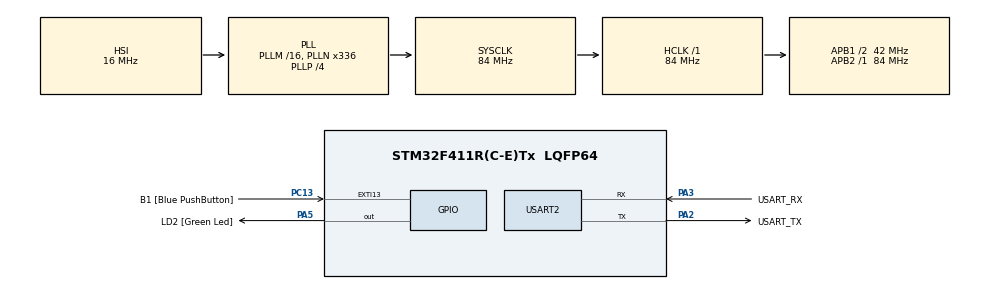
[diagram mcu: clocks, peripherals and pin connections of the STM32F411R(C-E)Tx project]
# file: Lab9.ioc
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Mcu.Family=STM32F4
PC15-OSC32_OUT.Mode=LSE-External-Oscillator
Dma.USART2_TX.1.Priority=DMA_PRIORITY_LOW
RCC.CortexFreq_Value=84000000
Dma.USART2_TX.1.FIFOMode=DMA_FIFOMODE_DISABLE
PC13-ANTI_TAMP.GPIO_Label=B1 [Blue PushButton]
Dma.USART2_TX.1.MemInc=DMA_MINC_ENABLE
PA14.GPIO_Label=TCK
PH1\ -\ OSC_OUT.Mode=HSE-External-Clock-Source
Dma.USART2_RX.0.Direction=DMA_PERIPH_TO_MEMORY
RCC.APB1CLKDivider=RCC_HCLK_DIV2
PC14-OSC32_IN.Signal=RCC_OSC32_IN
Dma.USART2_TX.1.PeriphDataAlignment=DMA_PDATAALIGN_BYTE
NVIC.USART2_IRQn=true\:0\:0\:false\:false\:true\:true\:true
RCC.SYSCLKSource=RCC_SYSCLKSOURCE_PLLCLK
ProjectManager.StackSize=0x400
Dma.USART2_RX.0.Mode=DMA_CIRCULAR
PA3.Mode=Asynchronous
PA13.Signal=SYS_JTMS-SWDIO
PH0\ -\ OSC_IN.Mode=HSE-External-Clock-Source
PH0\ -\ OSC_IN.Signal=RCC_OSC_IN
ProjectManager.TargetToolchain=STM32CubeIDE
NVIC.DMA1_Stream5_IRQn=true\:0\:0\:false\:false\:true\:false\:true
Dma.USART2_RX.0.Priority=DMA_PRIORITY_LOW
Dma.USART2_RX.0.PeriphDataAlignment=DMA_PDATAALIGN_BYTE
RCC.HCLKFreq_Value=84000000
RCC.APB2TimFreq_Value=84000000
Dma.USART2_TX.1.Mode=DMA_NORMAL
PC15-OSC32_OUT.Signal=RCC_OSC32_OUT
RCC.AHBFreq_Value=84000000
PA5.Signal=GPIO_Output
RCC.HSE_VALUE=8000000
PH1\ -\ OSC_OUT.Signal=RCC_OSC_OUT
Dma.USART2_TX.1.PeriphInc=DMA_PINC_DISABLE
board=NUCLEO-F411RE
PC13-ANTI_TAMP.Signal=GPXTI13
RCC.VCOOutputFreq_Value=336000000
Dma.USART2_TX.1.Direction=DMA_MEMORY_TO_PERIPH
RCC.APB2Freq_Value=84000000
Dma.USART2_RX.0.MemDataAlignment=DMA_MDATAALIGN_BYTE
PC14-OSC32_IN.Mode=LSE-External-Oscillator
PA14.Mode=Serial_Wire
Dma.USART2_TX.1.Instance=DMA1_Stream6
Dma.USART2_RX.0.Instance=DMA1_Stream5
PA13.Mode=Serial_Wire
Mcu.Name=STM32F411R(C-E)Tx
Dma.USART2_RX.0.MemInc=DMA_MINC_ENABLE
PA2.Signal=USART2_TX
PA13.GPIO_Label=TMS
RCC.FLatency-AdvancedSettings=FLASH_LATENCY_2
RCC.48MHZClocksFreq_Value=84000000
PB3.Signal=SYS_JTDO-SWO
RCC.SYSCLKFreq_VALUE=84000000
Mcu.Package=LQFP64
PA5.GPIO_Label=LD2 [Green Led]
Dma.USART2_RX.0.PeriphInc=DMA_PINC_DISABLE
USART2.VirtualMode=VM_ASYNC
Dma.USART2_RX.0.FIFOMode=DMA_FIFOMODE_DISABLE
PC13-ANTI_TAMP.GPIO_ModeDefaultEXTI=GPIO_MODE_IT_FALLING
PA2.GPIO_Label=USART_TX
PA14.Signal=SYS_JTCK-SWCLK
ProjectManager.HeapSize=0x200
RCC.HSI_VALUE=16000000
RCC.PLLP=RCC_PLLP_DIV4
NVIC.PriorityGroup=NVIC_PRIORITYGROUP_0
RCC.PLLN=336
Dma.Request1=USART2_TX
RCC.APB1TimFreq_Value=84000000
PA2.Mode=Asynchronous
Dma.USART2_TX.1.MemDataAlignment=DMA_MDATAALIGN_BYTE
Dma.Request0=USART2_RX
NVIC.DMA1_Stream6_IRQn=true\:0\:0\:false\:false\:true\:false\:true
RCC.APB1Freq_Value=42000000
PA3.GPIO_Label=USART_RX
PA3.Signal=USART2_RX
PB3.GPIO_Label=SWO

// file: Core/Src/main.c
/* USER CODE BEGIN Header */
/**
  ******************************************************************************
  * @file           : main.c
  * @brief          : Main program body
  ******************************************************************************
  * @attention
  *
  * <h2><center>&copy; Copyright (c) 2021 STMicroelectronics.
  * All rights reserved.</center></h2>
  *
  * This software component is licensed by ST under BSD 3-Clause license,
  * the "License"; You may not use this file except in compliance with the
  * License. You may obtain a copy of the License at:
  *                        opensource.org/licenses/BSD-3-Clause
  *
  ******************************************************************************
  */
/* USER CODE END Header */
#include "main.h"

/* USER CODE BEGIN Includes */
//sprintf
#include "stdio.h"
#include <stdlib.h>
#include "string.h"
/* USER CODE END Includes */

/* USER CODE BEGIN PD */
//#define UARTDEBUG
#define MAX_PACKET_LEN 255
/* USER CODE END PD */

UART_HandleTypeDef huart2;
DMA_HandleTypeDef hdma_usart2_rx;
DMA_HandleTypeDef hdma_usart2_tx;

/* USER CODE BEGIN PV */
//เปิด interrupt uart เพื่อให้หลังบ้าน dmaทำงาน
//หน้าบ้าน dma ไม่ได้ใช้ interrupt

//recieve
//Rx = circular ทำงานตลอดเวลา
//ใส่ข้อมูลเรื่อย ๆ ต้องอ่านข้อมูลให้เร็วพอกับ buffer

//transmit
//Tx = normal ทำงานบางช่วง

//DMA เขียนข้อมูลลงใน buffer Rx Tx
//ต้องอ่านข้อมูลให้ทัน DMA จึงต้องมีตัวแปรชี้ว่าอ่านข้อมูลช่องไหนอยู่
//ในกรณีของ Tx head ข้อมูลเข้า  tail ข้อมูลออกให้ตัว uart
//Rx มีแต่หางเพราะเป็น Dma=head อยู่แล้ว tail = ตำแหน่งข้อมูลที่จะอ่านคือหางให้ protocol
//ถ้าข้อมูลเข้ามาถูกต้องตาม format Uartจะ Valid เพื่อให้ DMAส่งข้อมูลได้
//stop bit จะทำงานหลังจากใส่ data ครบแล้วเท่านั้น

//Rx-> recive input -> DMA -> fill input in Rx Buffer -> circular
//track ว่า DMA เขียนช่่องไหน -> track ว่า DMA อ่านช่่องไหน ->พยายามอ่านข้อมูลตามให้ทน DMAฃ
//pointer ตัวแรกชี้ตำแหน่งที่ข้อมูลเข้ามาใน buffer ล่าสุด อีกตัวเป็น pointer ของตำแหน่งข้อมูลสุดท้ายที่ยังไม่ได้ออก/อ่านไปจาก buffer
//head = ข้อมูลเข้า กรณีของ Rx คือ DMA โยนเข้าไปว่าอยู่ตำแหน่งไหนใน array
//tail = จุดที่อ่านข้อมูลออกจาก buffer ต้องวิ่งอ่านตาม software ให้ทัน
//ถ้าอ่านข้อมูลไม่ทันตอนที่ข้อมูลวนกลับมาที่เดิม เกิดจาก ขนาด buffer เล็กไป หรือโปรแกรมทำงานช้าเกิน
//Rx ส่ง buffer ทั้งหมดให้ dma

//Tx -> fill ข้อมูลที่ต้องการส่ง in buffer tx และ ส่งข้อมูลจากจุดเริ้มต้นถึงสุดท้าย ->Tx Dma
//pointer แรกชี้ตำแหน่งเริ่มอีกตัวชี้ตำแหน่งสุดท้าย
//Tx dma ส่งข้อมูลไล่จากตัวแรกถึงตัวสุดท้าย โดยส่งครั้งเดียวไม่รัว ๆ จึงใช้ normal
//กรณีนี้เมื่อส่งออกไปแล้วจะส่งข้อมูลใหม่จะทำการเลื่อน array เปลี่ยนตำแหน่งแรกและสุดท้ายเลื่อนออกไปเรื่อย ๆ จนกว่าจะหมด
//ข้อมูลเก่าจะไม่ถูกลบแต่ไม่โดนใช้เพราะเลื่อนไปใส่รับข้อมูลใหม่
//ถ้าเต็มแล้วจนครบbuffer จะมีจังหวะ overlap ส่งสองรอบ ซึ่งไม่เปลืองเวลาในการส่งเพราะเวลาส่งถูกควบคุมด้วย dma และ uart อยู่แล้ว
//Tx ส่ง buffer บางส่วนให้ dma ดังนั้นข้อมูลจึงสามารถวนกลับมาตำแหน่งแรกได้

//input ->uart-> valid format ->send Data->DMA
//peripheral เป็นตัวจัดการให้
//ครั้งนี้ protocol ของuart = hardware จัดการขยับของสัญญาณให้เป็น data auto ไม่ต้องใช้ software

//Dma การรับส่งข้อมูลไม่เกี่ยวข้องกับ cpu จึงไม่เปลื่อง cpu time ในการดึงข้อมูล
//uart -> Dma->Ram

//handle งานทั้งหมดที่ Uart ต้องทำเพื่อ ทำงาน กับ DMA ได้
//วิธีนี้สามารถใช้ได้กับทุก uart ไม่จำเป็นต้องเป็น protocol
typedef struct _UartStructure
{
	UART_HandleTypeDef *huart; //ใช้ uart คุมตัวไหน
	uint16_t TxLen, RxLen; //Tx,Rx position //ขนาด buffer
	uint8_t *TxBuffer; //ตัวแปรที่ชี้ว่าปัจจุบันอ่านหรือเขียนอะไร
	uint16_t TxTail, TxHead; //head = ข้อมูลเข้า, tail = ข้อมูลออก
	uint8_t *RxBuffer;
	uint16_t RxTail; //RXHeadUseDMA //ตำแหน่งอ่าน array ปัจจุบัน

} UARTStucrture; //ส่งผ่านข้อมูล DMA

UARTStucrture UART2 = //keep data
{ 0 };

uint8_t MainMemory[255] =
{ 0 };

typedef enum
{
	DNMXP_idle,
	DNMXP_1stHeader,
	DNMXP_2ndHeader,
	DNMXP_3rdHeader,
	DNMXP_Reserved,
	DNMXP_ID,
	DNMXP_LEN1,
	DNMXP_LEN2,
	DNMXP_Inst,
	DNMXP_ParameterCollect,
	DNMXP_CRCAndExecute

} DNMXPState;
/* USER CODE END PV */

void SystemClock_Config(void);
static void MX_GPIO_Init(void);
static void MX_DMA_Init(void);
static void MX_USART2_UART_Init(void);
/* USER CODE BEGIN PFP */
void UARTInit(UARTStucrture *uart);

void UARTResetStart(UARTStucrture *uart);

uint32_t UARTGetRxHead(UARTStucrture *uart);

int16_t UARTReadChar(UARTStucrture *uart);

void UARTTxDumpBuffer(UARTStucrture *uart);

void UARTTxWrite(UARTStucrture *uart, uint8_t *pData, uint16_t len);

unsigned short update_crc(unsigned short crc_accum, unsigned char *data_blk_ptr,
		unsigned short data_blk_size);
void DynamixelProtocal2(uint8_t *Memory, uint8_t MotorID, int16_t dataIn,
		UARTStucrture *uart);
/* USER CODE END PFP */

int main(void)
{

  /* MCU Configuration--------------------------------------------------------*/

  /* Reset of all peripherals, Initializes the Flash interface and the Systick. */
  HAL_Init();

  /* Configure the system clock */
  SystemClock_Config();

  /* Initialize all configured peripherals */
  MX_GPIO_Init();
  MX_DMA_Init();
  MX_USART2_UART_Init();
  /* USER CODE BEGIN 2 */
  //initail data
  UART2.huart = &huart2;
  UART2.RxLen = 255;//array
  UART2.TxLen = 255;
  UARTInit(&UART2); //pointer เพื่อสามารถแก้ค่าใน structure ได้เพราะ call by reference
  UARTResetStart(&UART2);
  /* USER CODE END 2 */

  /* Infinite loop */
  /* USER CODE BEGIN WHILE */
  while (1)
  {
	  //เก็บข้อมูล
	  //อ่านข้อมูลทีละ byte (8 bits)
	  int16_t inputChar = UARTReadChar(&UART2);
	  		if (inputChar != -1) //มีตัวอักษรใหม่เข้ามา
	  		{

	  			//ถ้า define UARTDEBUG จะเปิดโหมด debugger ถ้า commend จะเข้า DynamixelProtocal2
	  #ifdef UARTDEBUG //ดูว่ากดตัวอะไร output asky
	  			//Rx= com Tx = Board
	  			char temp[32];
	  			sprintf(temp, "Recived [%d]\r\n", inputChar);
	  			UARTTxWrite(&UART2, (uint8_t*) temp, strlen(temp));
	  #else
	  			//protocol
	  			DynamixelProtocal2(MainMemory, 1, inputChar, &UART2);
	  #endif

	  		}
    /* USER CODE END WHILE */

    /* USER CODE BEGIN 3 */
	  		//ส่งข้อมูลค้าง
	  		UARTTxDumpBuffer(&UART2);
  }
  /* USER CODE END 3 */
}

void SystemClock_Config(void)
{
  RCC_OscInitTypeDef RCC_OscInitStruct = {0};
  RCC_ClkInitTypeDef RCC_ClkInitStruct = {0};

  /** Configure the main internal regulator output voltage
  */
  __HAL_RCC_PWR_CLK_ENABLE();
  __HAL_PWR_VOLTAGESCALING_CONFIG(PWR_REGULATOR_VOLTAGE_SCALE1);
  /** Initializes the RCC Oscillators according to the specified parameters
  * in the RCC_OscInitTypeDef structure.
  */
  RCC_OscInitStruct.OscillatorType = RCC_OSCILLATORTYPE_HSI;
  RCC_OscInitStruct.HSIState = RCC_HSI_ON;
  RCC_OscInitStruct.HSICalibrationValue = RCC_HSICALIBRATION_DEFAULT;
  RCC_OscInitStruct.PLL.PLLState = RCC_PLL_ON;
  RCC_OscInitStruct.PLL.PLLSource = RCC_PLLSOURCE_HSI;
  RCC_OscInitStruct.PLL.PLLM = 16;
  RCC_OscInitStruct.PLL.PLLN = 336;
  RCC_OscInitStruct.PLL.PLLP = RCC_PLLP_DIV4;
  RCC_OscInitStruct.PLL.PLLQ = 4;
  if (HAL_RCC_OscConfig(&RCC_OscInitStruct) != HAL_OK)
  {
    Error_Handler();
  }
  /** Initializes the CPU, AHB and APB buses clocks
  */
  RCC_ClkInitStruct.ClockType = RCC_CLOCKTYPE_HCLK|RCC_CLOCKTYPE_SYSCLK
                              |RCC_CLOCKTYPE_PCLK1|RCC_CLOCKTYPE_PCLK2;
  RCC_ClkInitStruct.SYSCLKSource = RCC_SYSCLKSOURCE_PLLCLK;
  RCC_ClkInitStruct.AHBCLKDivider = RCC_SYSCLK_DIV1;
  RCC_ClkInitStruct.APB1CLKDivider = RCC_HCLK_DIV2;
  RCC_ClkInitStruct.APB2CLKDivider = RCC_HCLK_DIV1;

  if (HAL_RCC_ClockConfig(&RCC_ClkInitStruct, FLASH_LATENCY_2) != HAL_OK)
  {
    Error_Handler();
  }
}

static void MX_USART2_UART_Init(void)
{

  huart2.Instance = USART2;
  huart2.Init.BaudRate = 115200;
  huart2.Init.WordLength = UART_WORDLENGTH_8B;
  huart2.Init.StopBits = UART_STOPBITS_1;
  huart2.Init.Parity = UART_PARITY_NONE;
  huart2.Init.Mode = UART_MODE_TX_RX;
  huart2.Init.HwFlowCtl = UART_HWCONTROL_NONE;
  huart2.Init.OverSampling = UART_OVERSAMPLING_16;
  if (HAL_UART_Init(&huart2) != HAL_OK)
  {
    Error_Handler();
  }

}

static void MX_DMA_Init(void)
{

  /* DMA controller clock enable */
  __HAL_RCC_DMA1_CLK_ENABLE();

  /* DMA interrupt init */
  /* DMA1_Stream5_IRQn interrupt configuration */
  HAL_NVIC_SetPriority(DMA1_Stream5_IRQn, 0, 0);
  HAL_NVIC_EnableIRQ(DMA1_Stream5_IRQn);
  /* DMA1_Stream6_IRQn interrupt configuration */
  HAL_NVIC_SetPriority(DMA1_Stream6_IRQn, 0, 0);
  HAL_NVIC_EnableIRQ(DMA1_Stream6_IRQn);

}

static void MX_GPIO_Init(void)
{
  GPIO_InitTypeDef GPIO_InitStruct = {0};

  /* GPIO Ports Clock Enable */
  __HAL_RCC_GPIOC_CLK_ENABLE();
  __HAL_RCC_GPIOH_CLK_ENABLE();
  __HAL_RCC_GPIOA_CLK_ENABLE();
  __HAL_RCC_GPIOB_CLK_ENABLE();

  /*Configure GPIO pin Output Level */
  HAL_GPIO_WritePin(LD2_GPIO_Port, LD2_Pin, GPIO_PIN_RESET);

  /*Configure GPIO pin : B1_Pin */
  GPIO_InitStruct.Pin = B1_Pin;
  GPIO_InitStruct.Mode = GPIO_MODE_IT_FALLING;
  GPIO_InitStruct.Pull = GPIO_NOPULL;
  HAL_GPIO_Init(B1_GPIO_Port, &GPIO_InitStruct);

  /*Configure GPIO pin : LD2_Pin */
  GPIO_InitStruct.Pin = LD2_Pin;
  GPIO_InitStruct.Mode = GPIO_MODE_OUTPUT_PP;
  GPIO_InitStruct.Pull = GPIO_NOPULL;
  GPIO_InitStruct.Speed = GPIO_SPEED_FREQ_LOW;
  HAL_GPIO_Init(LD2_GPIO_Port, &GPIO_InitStruct);

}

/* USER CODE BEGIN 4 */
//initial ค่าตัวแปรต่าง ๆ ที่สร้างใน structure แลัประกาศ array
//prepare to keep data Rx Tx
void UARTInit(UARTStucrture *uart)
{
	//dynamic memory allocate
	//calloc = การจอง memory เป็นการประกาศ array หลังจากโปรแกรมถูก compile ไปแล้ว
	//array เก็บข้อมูล 8 bit ความยาว 255
	//การสร้างarray หลังcompile สามารถเปลี่ยน size ได้เมื่อมี memory พอ
	//calloc return ออกมาเป็น ตำแหน่งของpointer ที่จอง memoryไว้ให้
	//if memory is not enough , it will be error
	//ถ้า calloc บ่อย ๆ จะจอง memory เรื่อย ๆ ทำให้เปลืองและ error ภายหลัง แก้โดยใช้ free
	//กรณีนี้ใช้เพื่อให้ array เปลี่ยนขนาด ตัวเลขได้
	uart->RxBuffer = (uint8_t*) calloc(sizeof(uint8_t), UART2.RxLen);
	uart->TxBuffer = (uint8_t*) calloc(sizeof(uint8_t), UART2.TxLen);
	uart->RxTail = 0; //ตำแหน่งแรกคือตำแหน่งที่ 0
	uart->TxTail = 0;
	uart->TxHead = 0;

}

//start recieve DMA
//ข้อมูลถูกโยนเข้ามาใน buffer
void UARTResetStart(UARTStucrture *uart)
{
	//uart2, rxbuffer, size = rxlen
	//uart structure -> uart2->UARTResetStart->HAL_UART_Receive_DMA->uart
	HAL_UART_Receive_DMA(uart->huart, uart->RxBuffer, uart->RxLen);
}

//หาตำแหน่ง pointer ที่เป็น head
//ตำแหน่งที่ DMA ทำงาน
uint32_t UARTGetRxHead(UARTStucrture *uart)
{
	//ขนาดทั้งหมด - จำนวนที่เหลือ = ตำแหน่งที่อยู่
	return uart->RxLen - __HAL_DMA_GET_COUNTER(uart->huart->hdmarx);
}

//read character
//นั่งอ่าน tailไล่ตาม head rx
int16_t UARTReadChar(UARTStucrture *uart)
{
	//check ว่ามีข้อมูลใหม่เข้ามาไหม
	int16_t Result = -1; // -1 Mean no new data

	//check Buffer Position
	if (uart->RxTail != UARTGetRxHead(uart)) //ตำแหน่ง head != tail แสดงว่ามีข้อมูลใหม่
	{
		//get data from buffer
		Result = uart->RxBuffer[uart->RxTail]; //buffer ช่องที่ tail อยู่
		uart->RxTail = (uart->RxTail + 1) % uart->RxLen; //เลื่อนตำแหน่งไป 1 %เพื่อเวลา tail เกินจะกลับมาช่องเดิม

	}
	return Result;

}

//ส่งข้อมูลให้ dma
void UARTTxDumpBuffer(UARTStucrture *uart)
{
	static uint8_t MultiProcessBlocker = 0;

	//check ว่าตอนนี้กำลังส่ง TX อยู่รึเปล่า
	//ถ้ายังส่ง Tx เก่าจะไม่ใส่ข้อมูลใหม่ลงไปใน dma
	//dma ส่งเสร็จก่อนค่อยใส่ข้อมูลชุดถัดไป

	//gstate = uart กำลังทำอะไรอยู่เช่น ส่งข้อมูล error

	//HAL_UART_STATE_READY = พร้อมส่งข้อมูล

	//MultiProcessBlocker ใช้ในกรณีที่ uart tx dump buffer ไปไว้ใน interrupt ตอนที่ tx เสร็จแล้ว
	//ข้อมูลไหนที่ยังไม่ถูกเขียนหรือค้างไว้จะเขียนต่อเลย
	//มีโอกาสที่จะทำงานฟังก์ชั่นนี้ซ้ำกันของ UARTTxWriteและ interrupt

	//จึงมี MultiProcessBlocker เช็คว่าฟังก์ชั่นนี้ทำงานอยู่หรือไม่ จะได้ไม่ call ซ้ำซ้อน
	if (uart->huart->gState == HAL_UART_STATE_READY && !MultiProcessBlocker)
	{
		MultiProcessBlocker = 1;

		if (uart->TxHead != uart->TxTail)
		{
			//find len of data in buffer (Circular buffer but do in one way)
			//buffer อยู่ตำแหน่งไหน ต้องส่งจุดไหนไปจุดไหน
			uint16_t sentingLen =
					uart->TxHead > uart->TxTail ?
							uart->TxHead - uart->TxTail :
							uart->TxLen - uart->TxTail;

			//sent data via DMA
			//transmit DMA, บอกตำแหน่งเริ่มต้น , ความยาวที่ต้องส่ง
			HAL_UART_Transmit_DMA(uart->huart, &(uart->TxBuffer[uart->TxTail]),
					sentingLen);
			//move tail to new position
			uart->TxTail = (uart->TxTail + sentingLen) % uart->TxLen;

		}
		MultiProcessBlocker = 0;
	}
}

//write data in buffer
//ไม่ได้ส่งให้ dma
//รับ pointer data ว่าจะเขียนอะไรบ้าง กับความยาว string ที่ต้องการเขียน
void UARTTxWrite(UARTStucrture *uart, uint8_t *pData, uint16_t len)
{
	//check data len is more than buffur?
	//check ว่าข้อมูล เกิน buffer รึเปล่า
	uint16_t lenAddBuffer = (len <= uart->TxLen) ? len : uart->TxLen;
	// find number of data before end of ring buffer
	uint16_t numberOfdataCanCopy =
			lenAddBuffer <= uart->TxLen - uart->TxHead ?
					lenAddBuffer : uart->TxLen - uart->TxHead;
	//copy data to the buffer
	//ถ้าเกินขนาด buffer จะ copy ข้อมูลที่เกินไป buffer ที่เตรียมไว้
	//memcpy = copy array เร็ว ๆ
	//array ที่ต้องการ copy , array ที่ต้องการโยนข้อมูลใส่ไป, จำนวนข้อมูลที่ต้องการ copy
	memcpy(&(uart->TxBuffer[uart->TxHead]), pData, numberOfdataCanCopy);

	//Move Head to new position

	uart->TxHead = (uart->TxHead + lenAddBuffer) % uart->TxLen;
	//Check that we copy all data That We can?
	if (lenAddBuffer != numberOfdataCanCopy)
	{
		memcpy(uart->TxBuffer, &(pData[numberOfdataCanCopy]),
				lenAddBuffer - numberOfdataCanCopy);
	}

	//call function
	UARTTxDumpBuffer(uart);

}

//uartรับข้อมูล 8 bit = 1111 1111 = F F
//state machine
//memory เป็น memory ตำแหน่งในตัวเครื่อง ว่า memory นั้นให้ทำอะไร
//Motor ID = ID motor แต่ละตัว
//dataIn ได้มาจาก inputchar
//UARTStucrture *uart = uart2 ใช้ในการตอบกลับส่งข้อมูล
void DynamixelProtocal2(uint8_t *Memory, uint8_t MotorID, int16_t dataIn,
		UARTStucrture *uart)
{
	//all Static Variable
	static DNMXPState State = DNMXP_idle;
	static uint16_t datalen = 0;
	static uint16_t CollectedData = 0;
	static uint8_t inst = 0;
	static uint8_t parameter[256] =
	{ 0 };
	static uint16_t CRCCheck = 0;
	static uint16_t packetSize = 0;
	static uint16_t CRC_accum;

	//State Machine
	switch (State)
	{
	case DNMXP_idle:
		if (dataIn == 0xFF) //data เข้ามาเป็น FF
			State = DNMXP_1stHeader;
		break;
	case DNMXP_1stHeader:
		if (dataIn == 0xFF)
			State = DNMXP_2ndHeader;
		else
			State = DNMXP_idle;
		break;
	case DNMXP_2ndHeader:
		if (dataIn == 0xFD)
			State = DNMXP_3rdHeader;
		else if (dataIn == 0xFF)
			; //do nothing
		else
			State = DNMXP_idle;
		break;
	case DNMXP_3rdHeader:
		if (dataIn == 0x00)
			State = DNMXP_Reserved;
		else
			State = DNMXP_idle;
		break;
	case DNMXP_Reserved: //check ID motor
		//วิธีนี้ดีคือ switch case ไม่วิ่งไปไกล แต่ข้อเสียอาจทำให้ เกิดการผิดพลาดของการเรียง switch case
		if ((dataIn == MotorID) | (dataIn == 0xFE)) //broadcast ID = 0xFE ID สำหรับการกระจายให้กับ dynamixel หลายๆตัว
			State = DNMXP_ID;
		else
			State = DNMXP_idle; //ID ไม่ตรง
		break;
	case DNMXP_ID:
		datalen = dataIn & 0xFF; //data len low
		State = DNMXP_LEN1;
		break;
	case DNMXP_LEN1:
		datalen |= (dataIn & 0xFF) << 8; //data len high
		State = DNMXP_LEN2;
		break;
	case DNMXP_LEN2:
		inst = dataIn; //keep instruction
		State = DNMXP_Inst;
		break;
	case DNMXP_Inst:
		//3 = crc1+crc2+inst
		//ความยาวของ parameter ทั้งหมด + 3 =datalen
		if (datalen > 3) //len >3 คือมี parameter ให้เก็บ
		{
			parameter[0] = dataIn; //first parameter
			CollectedData = 1; //inst 1 + para[0] 1
			State = DNMXP_ParameterCollect;
		}
		else  //ถ้าน้อยกว่า 3 คือไม่มี parameter ข้ามได้เลย
		{
			CRCCheck = dataIn & 0xff;
			State = DNMXP_CRCAndExecute; //check crc
		}

		break;
	case DNMXP_ParameterCollect:
		//เก็บครบทุก parameer
		if (datalen-3 > CollectedData)
		{
			parameter[CollectedData] = dataIn;
			CollectedData++;
		}
		else
		{
			CRCCheck = dataIn & 0xff; //crc low
			State = DNMXP_CRCAndExecute;
		}
		break;
	case DNMXP_CRCAndExecute: //crc ที่รับได้และที่มีตรงกนไหม
		CRCCheck |= (dataIn & 0xff) << 8; //รับcrc ตัวสุดท้าย //crc high
		//Check CRC
		CRC_accum = 0;
		packetSize = datalen + 7; //H1 H2 H3 rsv ID CRC1 CRC2
		//check overlapse buffer
		if (uart->RxTail - packetSize >= 0) //not overlapse //packgage ไม่ถูกตัดตอน
		{
			//add data crc
			//ข้อมูลที่รับเข้ามาทั้งหมดใส่ crc
			//data keep in ring buffer of uart
			//tail ตำแหน่ง array
			CRC_accum = update_crc(CRC_accum,
					&(uart->RxBuffer[uart->RxTail - packetSize]), //ตำแหน่งปัจจุบัน - packgage = อ่านข้อมูลย้อนหลังตาม buffer รับข้อมูลทั้งหมด
					packetSize - 2);
		}
		else//overlapse //overflow
			//มีโอกาสที่packgage ถูกตัดไปเริ่มต้นที่ตำแหน่ง 0
		{
			uint16_t firstPartStart = uart->RxTail - packetSize + uart->RxLen;
			CRC_accum = update_crc(CRC_accum, &(uart->RxBuffer[firstPartStart]),
					uart->RxLen - firstPartStart);
			CRC_accum = update_crc(CRC_accum, uart->RxBuffer, uart->RxTail - 2);

		}

		if (CRC_accum == CRCCheck) //crc ที่คำนวน เท่ากับที่เก็บได้
		{ //ถ้าตรงกัน packgage is valid
			//inst = instruction ตัวที่บอกว่า package นี้ต้องทำอะไร
			switch (inst)
			{
			case 0x01:// ping
			{
				//create packet template
				//H1 H2 H3 RSRV PACKET_ID LEN1 LEN2 INST ERR CRC1 CRC2
				uint8_t temp[] =
				{ 0xff, 0xff, 0xfd, 0x00, 0x00, 0x04, 0x00, 0x55, 0x00, 0x00,0x00 };
				//config MotorID
				temp[4] = MotorID;
				//calcuate CRC สามารถคำนวนต่อเนื่องได้
				uint16_t crc_calc = update_crc(0, temp, 9);
				temp[9] = crc_calc & 0xff;
				temp[10] = (crc_calc >> 8) & 0xFF;
				//Sent Response Packet
				UARTTxWrite(uart, temp, 11);
				break;
			}

			case 0x02://READ
			{
				//ตำแหน่งที่ต้องการอ่าน
				//parameter 0 + parameter 1
				uint16_t startAddr = (parameter[0]&0xFF)|(parameter[1]<<8 &0xFF); //low + high //0xFF filter 8 bit

				//จำนวนช่อง array ที่ต้องการอ่าน
				//parameter 3 + parameter 4
				uint16_t numberOfDataToRead = (parameter[2]&0xFF)|(parameter[3]&0xFF<<8 );

				//ex 0x84 0x00 0x04 0x00 = ตำแหน่ง 84 อ่านไป 4 ตัว

				//packgage ตอบกลับ
				//H1 H2 H3 RSRV PACKET_ID LEN1 LEN2 INST ERR
				uint8_t temp[] = {0xff,0xff,0xfd,0x00,0x00,0x00,0x00,0x55,0x00};
				temp[4] = MotorID;

				//จำนวนช่องที่ต้องการอ่าน
				// +inst+err+crc1+crc2
				temp[5] = (numberOfDataToRead + 4) & 0xff ; //len low
				temp[6] = ((numberOfDataToRead + 4)>>8) & 0xff ; //len high
				uint16_t crc_calc = update_crc(0, temp, 9); //crc H1-ERR
				crc_calc = update_crc(crc_calc ,&(Memory[startAddr]),numberOfDataToRead); //คำนวน crc ต่อ //parameter
				uint8_t crctemp[2];
				crctemp[0] = crc_calc&0xff;
				crctemp[1] = (crc_calc>>8)&0xff;

				//send temp
				UARTTxWrite(uart, temp,9);

				//send data in memory from initial position
				UARTTxWrite(uart, &(Memory[startAddr]),numberOfDataToRead);

				//send crc
				UARTTxWrite(uart, crctemp,2);
				break;
			}
			case 0x03://WRITE
			{
//				//LAB
//				//parameter 0 + parameter 1
				uint16_t startAddr = (parameter[0]&0xFF)|(parameter[1]&0xFF<<8);

				//packgage ตอบกลับ
				//H1 H2 H3 RSRV PACKET_ID LEN1 LEN2 INST ERR
				uint8_t temp[] = {0xff,0xff,0xfd,0x00,0x00,0x04,0x00,0x55,0x00};
				temp[4] = MotorID;

				uint16_t crc_calc = update_crc(0, temp, 9);
				//crc_calc = update_crc(crc_calc ,&(Memory[startAddr]),9); //คำนวน crc ต่อ
				uint8_t crctemp[2];
				crctemp[0] = crc_calc&0xff;
				crctemp[1] = (crc_calc>>8)&0xff;

				//send temp
				UARTTxWrite(uart, temp,9);

				//send crc
				UARTTxWrite(uart, crctemp,2);

				//0x74 +0x00 =116
				int i=0;
				//all parameter - parameter[0] - parameter[1]
				for (i = 0; i < CollectedData-2; i++)
				{
					MainMemory[startAddr+i] = parameter[2+i];
				}

				break;
			}

			default: //Unknown Inst
			{
				uint8_t temp[] =
				{ 0xff, 0xff, 0xfd, 0x00, 0x00, 0x05, 0x00, 0x55, 0x02, 0x00,
						0x00 };
				temp[4] = MotorID;
				//package ใหม่ = 0
				uint16_t crc_calc = update_crc(0, temp, 9);
				temp[9] = crc_calc & 0xff;
				temp[10] = (crc_calc >> 8) & 0xFF;
				UARTTxWrite(uart, temp, 11);

				break;
			}
			}
		}
		else //crc error
		{
			uint8_t temp[] =
			{ 0xff, 0xff, 0xfd, 0x00, 0x00, 0x05, 0x00, 0x55, 0x03, 0x00, 0x00 };
			temp[4] = MotorID;
			uint16_t crc_calc = update_crc(0, temp, 9);
			temp[9] = crc_calc & 0xff;
			temp[10] = (crc_calc >> 8) & 0xFF;
			UARTTxWrite(uart, temp, 11);
		}
		State = DNMXP_idle;
		break;
	}

}
unsigned short update_crc(unsigned short crc_accum, unsigned char *data_blk_ptr,
		unsigned short data_blk_size)
{
	unsigned short i, j;
	unsigned short crc_table[256] =
	{ 0x0000, 0x8005, 0x800F, 0x000A, 0x801B, 0x001E, 0x0014, 0x8011, 0x8033,
			0x0036, 0x003C, 0x8039, 0x0028, 0x802D, 0x8027, 0x0022, 0x8063,
			0x0066, 0x006C, 0x8069, 0x0078, 0x807D, 0x8077, 0x0072, 0x0050,
			0x8055, 0x805F, 0x005A, 0x804B, 0x004E, 0x0044, 0x8041, 0x80C3,
			0x00C6, 0x00CC, 0x80C9, 0x00D8, 0x80DD, 0x80D7, 0x00D2, 0x00F0,
			0x80F5, 0x80FF, 0x00FA, 0x80EB, 0x00EE, 0x00E4, 0x80E1, 0x00A0,
			0x80A5, 0x80AF, 0x00AA, 0x80BB, 0x00BE, 0x00B4, 0x80B1, 0x8093,
			0x0096, 0x009C, 0x8099, 0x0088, 0x808D, 0x8087, 0x0082, 0x8183,
			0x0186, 0x018C, 0x8189, 0x0198, 0x819D, 0x8197, 0x0192, 0x01B0,
			0x81B5, 0x81BF, 0x01BA, 0x81AB, 0x01AE, 0x01A4, 0x81A1, 0x01E0,
			0x81E5, 0x81EF, 0x01EA, 0x81FB, 0x01FE, 0x01F4, 0x81F1, 0x81D3,
			0x01D6, 0x01DC, 0x81D9, 0x01C8, 0x81CD, 0x81C7, 0x01C2, 0x0140,
			0x8145, 0x814F, 0x014A, 0x815B, 0x015E, 0x0154, 0x8151, 0x8173,
			0x0176, 0x017C, 0x8179, 0x0168, 0x816D, 0x8167, 0x0162, 0x8123,
			0x0126, 0x012C, 0x8129, 0x0138, 0x813D, 0x8137, 0x0132, 0x0110,
			0x8115, 0x811F, 0x011A, 0x810B, 0x010E, 0x0104, 0x8101, 0x8303,
			0x0306, 0x030C, 0x8309, 0x0318, 0x831D, 0x8317, 0x0312, 0x0330,
			0x8335, 0x833F, 0x033A, 0x832B, 0x032E, 0x0324, 0x8321, 0x0360,
			0x8365, 0x836F, 0x036A, 0x837B, 0x037E, 0x0374, 0x8371, 0x8353,
			0x0356, 0x035C, 0x8359, 0x0348, 0x834D, 0x8347, 0x0342, 0x03C0,
			0x83C5, 0x83CF, 0x03CA, 0x83DB, 0x03DE, 0x03D4, 0x83D1, 0x83F3,
			0x03F6, 0x03FC, 0x83F9, 0x03E8, 0x83ED, 0x83E7, 0x03E2, 0x83A3,
			0x03A6, 0x03AC, 0x83A9, 0x03B8, 0x83BD, 0x83B7, 0x03B2, 0x0390,
			0x8395, 0x839F, 0x039A, 0x838B, 0x038E, 0x0384, 0x8381, 0x0280,
			0x8285, 0x828F, 0x028A, 0x829B, 0x029E, 0x0294, 0x8291, 0x82B3,
			0x02B6, 0x02BC, 0x82B9, 0x02A8, 0x82AD, 0x82A7, 0x02A2, 0x82E3,
			0x02E6, 0x02EC, 0x82E9, 0x02F8, 0x82FD, 0x82F7, 0x02F2, 0x02D0,
			0x82D5, 0x82DF, 0x02DA, 0x82CB, 0x02CE, 0x02C4, 0x82C1, 0x8243,
			0x0246, 0x024C, 0x8249, 0x0258, 0x825D, 0x8257, 0x0252, 0x0270,
			0x8275, 0x827F, 0x027A, 0x826B, 0x026E, 0x0264, 0x8261, 0x0220,
			0x8225, 0x822F, 0x022A, 0x823B, 0x023E, 0x0234, 0x8231, 0x8213,
			0x0216, 0x021C, 0x8219, 0x0208, 0x820D, 0x8207, 0x0202 };

	for (j = 0; j < data_blk_size; j++)
	{
		i = ((unsigned short) (crc_accum >> 8) ^ data_blk_ptr[j]) & 0xFF;
		crc_accum = (crc_accum << 8) ^ crc_table[i];
	}

	return crc_accum;
}
/* USER CODE END 4 */

void Error_Handler(void)
{
  __disable_irq();
  while (1)
  {
  }
}

/************************ (C) COPYRIGHT STMicroelectronics *****END OF FILE****/
